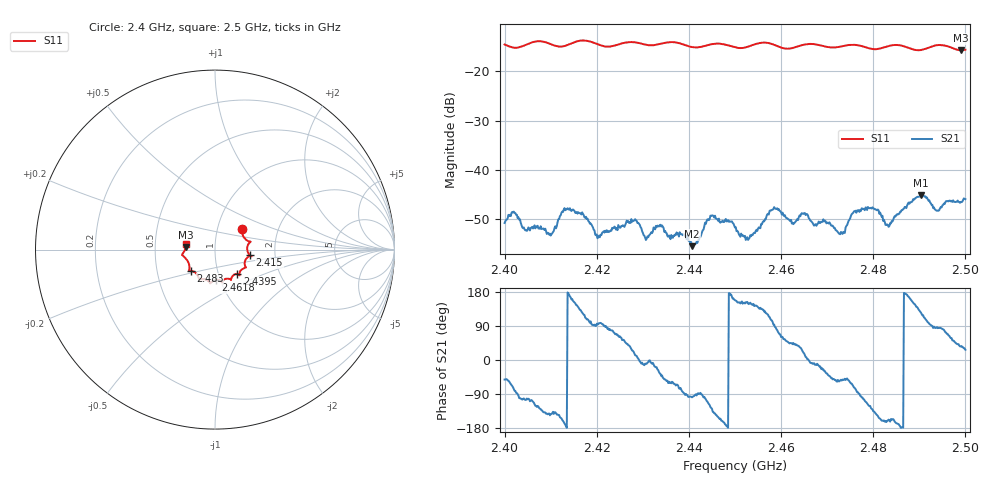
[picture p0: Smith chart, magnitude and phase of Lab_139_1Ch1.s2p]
# Hz S RI R 50
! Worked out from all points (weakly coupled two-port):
!   601 points, 2.4 GHz to 2.5 GHz, reference 50 ohm
!   highest |S21| = -45.21 dB at 2.4903 GHz (marker M1); lowest = -55.6 dB at 2.4407 GHz (marker M2)
!   lowest |S11| = -15.7 dB at 2.499 GHz (marker M3), VSWR 1.39, Z = 35.9 + j1.12 ohm
!   |S11| at or under -10 dB: start of sweep to end of sweep
!   S12 and S22 are empty: the file has one direction only
!   S11 on the Smith chart (normalised r, x): 2.4 GHz: 1.31, +0.31; 2.415 GHz: 1.48, -0.10; 2.4395 GHz: 1.23, -0.34; 2.4618 GHz: 0.95, -0.33; 2.483 GHz: 0.74, -0.18; 2.5 GHz: 0.72, +0.05
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2.4e9  0.1504 0.1134  0.00179 -0.00224  0 0  0 0
2.41e9  0.1871 0.032  -0.00171 -0.00128  0 0  0 0
2.415e9  0.1945 -0.0322  -0.00348 0.00171  0 0  0 0
2.416667e9  0.203 -0.038  -0.00215 0.00277  0 0  0 0
2.420167e9  0.1854 -0.0405  -0.000115 0.002  0 0  0 0
2.433333e9  0.1365 -0.1311  0.00239 -0.00119  0 0  0 0
2.4395e9  0.1242 -0.1348  -6.09e-05 -0.00196  0 0  0 0
2.440667e9  0.1129 -0.1366  -0.000244 -0.00165  0 0  0 0
2.445167e9  0.0892 -0.1683  -0.00249 -0.00235  0 0  0 0
2.45e9  0.0699 -0.162  -0.00238 0.000975  0 0  0 0
2.452833e9  0.0432 -0.1737  -0.00166 0.00099  0 0  0 0
2.458667e9  0.0392 -0.1815  0.000201 0.00402  0 0  0 0
2.461833e9  0.00392 -0.171  0.0022 0.00212  0 0  0 0
2.466667e9  -0.0263 -0.1888  0.00292 -0.000413  0 0  0 0
2.473333e9  -0.0748 -0.165  0.00138 -0.00174  0 0  0 0
2.479333e9  -0.1003 -0.1386  -0.00211 -0.00346  0 0  0 0
2.483e9  -0.1356 -0.1181  -0.00262 -0.000923  0 0  0 0
2.483333e9  -0.1385 -0.1179  -0.00242 -0.00101  0 0  0 0
2.490333e9  -0.1528 -0.0628  -0.00318 0.00448  0 0  0 0
2.493833e9  -0.1825 -0.0314  0.000228 0.00381  0 0  0 0
2.499e9  -0.1638 0.0151  0.00381 0.00273  0 0  0 0
2.5e9  -0.1633 0.0329  0.00446 0.00228  0 0  0 0
